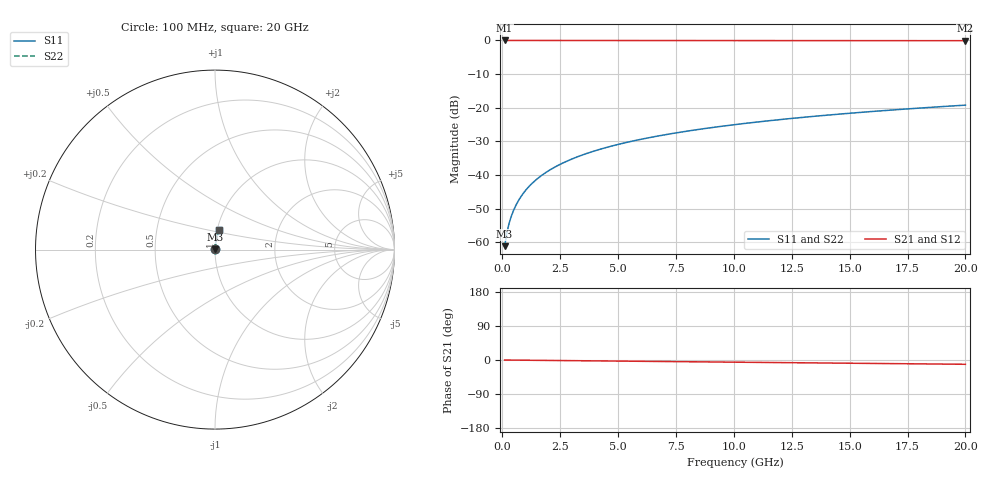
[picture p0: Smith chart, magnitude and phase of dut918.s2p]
! Touchstone file exported from HFSS 2026.1.0
!  File:  C:/ffzhzh/LocalFiles/Ansys_Project_Files/temp_train_BSMRDL_918_1783171688_51560.aedt
!  Generated:  09:29:22 PM Jul  4, 2026
!  Design:  BSMRDL
!  Project:  temp_train_BSMRDL_918_1783171688_51560
! Variables:
!  h_bsmrdl = 4.52um
!  h_ox = 20um
!  h_rdl = 5um
!  h_sub = 80um
!  h_tmrdl = 5um
!  h_tsv = 80um
!  h_via = 3um
!  l_bsmrdl = 132.44um
!  l_sub = 532.44um
!  l_tmrdl = 200um
!  m_sub = 200um
!  pitch = 48.72um
!  r_tsv = 6um
!  s_tmrdl = 10um
!  w_bsmrdl = 24.22um
!  w_sub = 500um
!  w_tmrdl = 12um
!  x_tsv_center1 = 206um
!  x_tsv_center2 = 362.66um
!  x_tsv_center3 = 574.66um
!  x_tsv_center4 = 731.32um
!  x_tsv_center5 = 943.32um
!  x_tsv_center6 = 1099.98um
# GHz S MA R 50.000000
! Terminal data exported
! Port[1] = BSM_RDL1_1_T1
! Port[2] = BSM_RDL1_1_T2
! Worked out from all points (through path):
!   200 points, 100 MHz to 20 GHz, reference 50 ohm
!   highest |S21| = -0.01 dB at 100 MHz (marker M1); lowest = -0.1 dB at 20 GHz (marker M2)
!   group delay of S21, straight-line fit = 1.57 ps
!   lowest |S11| = -61.1 dB at 100 MHz (marker M3), VSWR 1.00, Z = 50.1 + j0.0634 ohm
!   |S11| at or under -10 dB: start of sweep to end of sweep
!   |S22| runs from -61.1 to -19.2 dB; largest |S21 - S12| = 2.5e-15
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0.1  0.0008799 46.0  0.9994 -0.1  0.9994 -0.1  0.0008799 46.0
! Gamma 0 0 0 0
! Port Impedance 50 0 50 0
0.2  0.001402 62.3  0.9994 -0.1  0.9994 -0.1  0.001402 62.3
0.3  0.001955 69.3  0.9993 -0.2  0.9993 -0.2  0.001955 69.3
0.4  0.00251 73.2  0.9993 -0.2  0.9993 -0.2  0.00251 73.2
0.5  0.003068 75.8  0.9993 -0.3  0.9993 -0.3  0.003068 75.8
0.6  0.003629 77.7  0.9992 -0.4  0.9992 -0.4  0.003629 77.7
0.8  0.004759 80.1  0.9992 -0.5  0.9992 -0.5  0.004759 80.1
1.1  0.006466 82.2  0.9992 -0.6  0.9992 -0.6  0.006466 82.2
1.5  0.008752 83.5  0.9991 -0.9  0.9991 -0.9  0.008752 83.5
1.8  0.01047 84.1  0.999 -1.0  0.999 -1.0  0.01047 84.1
2.1  0.01218 84.4  0.999 -1.2  0.999 -1.2  0.01218 84.4
2.7  0.0156 84.7  0.9988 -1.6  0.9988 -1.6  0.0156 84.7
3.5  0.02014 84.7  0.9986 -2.0  0.9986 -2.0  0.02014 84.7
4.2  0.02407 84.5  0.9984 -2.4  0.9984 -2.4  0.02407 84.5
5  0.02854 84.2  0.9982 -2.9  0.9982 -2.9  0.02854 84.2
5.9  0.03353 83.9  0.9978 -3.4  0.9978 -3.4  0.03353 83.9
6.8  0.0385 83.5  0.9975 -3.9  0.9975 -3.9  0.0385 83.5
8.3  0.04671 82.8  0.9969 -4.8  0.9969 -4.8  0.04671 82.8
10.1  0.05651 82.0  0.9962 -5.8  0.9962 -5.8  0.05651 82.0
13.4  0.07433 80.4  0.9947 -7.6  0.9947 -7.6  0.07433 80.4
16.7  0.09197 78.7  0.9929 -9.5  0.9929 -9.5  0.09197 78.7
20  0.1094 77.0  0.9908 -11.3  0.9908 -11.3  0.1094 77.0
